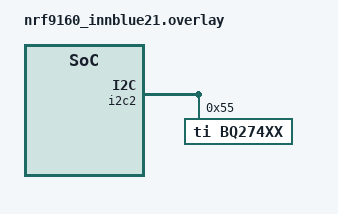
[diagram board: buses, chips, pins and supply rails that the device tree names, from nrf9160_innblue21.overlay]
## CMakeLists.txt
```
# SPDX-License-Identifier: Apache-2.0

cmake_minimum_required(VERSION 3.28.0)
find_package(Zephyr REQUIRED HINTS $ENV{ZEPHYR_BASE})
project(bq274xx)

FILE(GLOB app_sources src/*.c)
target_sources(app PRIVATE ${app_sources})
```

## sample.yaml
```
sample:
  description: Demonstration of the BQ274XX Fuel gauge Sensor driver
  name: BQ274XX Sample
tests:
  sample.sensor.bq274xx:
    harness: sensor
    platform_allow:
      - innblue22/nrf9160
    integration_platforms:
      - innblue22/nrf9160
    tags: sensors
    depends_on: i2c
  sample.sensor.bq274xx_without_int_gpios:
    harness: sensor
    platform_allow:
      - innblue22/nrf9160
    integration_platforms:
      - innblue22/nrf9160
    tags: sensors
    depends_on: i2c
    extra_configs:
      - CONFIG_BQ274XX_PM=n
```

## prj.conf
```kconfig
CONFIG_STDOUT_CONSOLE=y
CONFIG_I2C=y
CONFIG_SENSOR=y

CONFIG_LOG=y
```

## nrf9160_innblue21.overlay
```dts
/*
 * Copyright (c) 2020 Linumiz
 *
 * SPDX-License-Identifier: Apache-2.0
 */

&i2c2 {

	bq27421@55 {
		compatible = "ti,bq274xx";
		label = "BQ274XX";
		reg = <0x55>;
	};
};
```

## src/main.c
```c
/*
 * Copyright (c) 2020 Linumiz
 *
 * SPDX-License-Identifier: Apache-2.0
 */

#include <zephyr/kernel.h>
#include <zephyr/device.h>
#include <zephyr/drivers/sensor.h>
#include <zephyr/sys/printk.h>

static void bq274xx_show_values(const char *type, struct sensor_value value)
{
	if ((value.val2 < 0) && (value.val1 >= 0)) {
		value.val2 = -(value.val2);
		printk("%s: -%d.%06d\n", type, value.val1, value.val2);
	} else if ((value.val2 > 0) && (value.val1 < 0)) {
		printk("%s: %d.%06d\n", type, value.val1, value.val2);
	} else if ((value.val2 < 0) && (value.val1 < 0)) {
		value.val2 = -(value.val2);
		printk("%s: %d.%06d\n", type, value.val1, value.val2);
	} else {
		printk("%s: %d.%06d\n", type, value.val1, value.val2);
	}
}

static void do_main(const struct device *dev)
{
	int status = 0;
	struct sensor_value voltage, current, state_of_charge,
		full_charge_capacity, remaining_charge_capacity, avg_power,
		int_temp, current_standby, current_max_load, state_of_health;

	while (1) {
		status = sensor_sample_fetch_chan(dev,
						  SENSOR_CHAN_GAUGE_VOLTAGE);
		if (status < 0) {
			printk("Unable to fetch the voltage\n");
			return;
		}

		status = sensor_channel_get(dev, SENSOR_CHAN_GAUGE_VOLTAGE,
					    &voltage);
		if (status < 0) {
			printk("Unable to get the voltage value\n");
			return;
		}

		printk("Voltage: %d.%06dV\n", voltage.val1, voltage.val2);

		status = sensor_sample_fetch_chan(dev,
					       SENSOR_CHAN_GAUGE_AVG_CURRENT);
		if (status < 0) {
			printk("Unable to fetch the Average current\n");
			return;
		}

		status = sensor_channel_get(dev, SENSOR_CHAN_GAUGE_AVG_CURRENT,
					    &current);
		if (status < 0) {
			printk("Unable to get the current value\n");
			return;
		}

		bq274xx_show_values("Avg Current in Amps", current);

		status = sensor_sample_fetch_chan(dev,
					SENSOR_CHAN_GAUGE_STDBY_CURRENT);
		if (status < 0) {
			printk("Unable to fetch Standby Current\n");
			return;
		}

		status = sensor_channel_get(dev,
					SENSOR_CHAN_GAUGE_STDBY_CURRENT,
					&current_standby);
		if (status < 0) {
			printk("Unable to get the current value\n");
			return;
		}

		bq274xx_show_values("Standby Current in Amps", current_standby);

		status = sensor_sample_fetch_chan(dev,
					SENSOR_CHAN_GAUGE_MAX_LOAD_CURRENT);
		if (status < 0) {
			printk("Unable to fetch Max Load Current\n");
			return;
		}

		status = sensor_channel_get(dev,
					SENSOR_CHAN_GAUGE_MAX_LOAD_CURRENT,
					&current_max_load);
		if (status < 0) {
			printk("Unable to get the current value\n");
			return;
		}

		bq274xx_show_values("Max Load Current in Amps",
				    current_max_load);

		status = sensor_sample_fetch_chan(dev,
					SENSOR_CHAN_GAUGE_STATE_OF_CHARGE);
		if (status < 0) {
			printk("Unable to fetch State of Charge\n");
			return;
		}

		status = sensor_channel_get(dev,
					    SENSOR_CHAN_GAUGE_STATE_OF_CHARGE,
					    &state_of_charge);
		if (status < 0) {
			printk("Unable to get state of charge\n");
			return;
		}

		printk("State of charge: %d%%\n", state_of_charge.val1);

		status = sensor_sample_fetch_chan(dev,
					SENSOR_CHAN_GAUGE_STATE_OF_HEALTH);
		if (status < 0) {
			printk("Failed to fetch State of Health\n");
			return;
		}

		status = sensor_channel_get(dev,
					    SENSOR_CHAN_GAUGE_STATE_OF_HEALTH,
					    &state_of_health);
		if (status < 0) {
			printk("Unable to get state of charge\n");
			return;
		}

		printk("State of health: %d%%\n", state_of_health.val1);

		status = sensor_sample_fetch_chan(dev,
					SENSOR_CHAN_GAUGE_AVG_POWER);
		if (status < 0) {
			printk("Unable to fetch Avg Power\n");
			return;
		}

		status = sensor_channel_get(dev, SENSOR_CHAN_GAUGE_AVG_POWER,
					    &avg_power);
		if (status < 0) {
			printk("Unable to get avg power\n");
			return;
		}

		bq274xx_show_values("Avg Power in Watt", avg_power);

		status = sensor_sample_fetch_chan(dev,
				SENSOR_CHAN_GAUGE_FULL_CHARGE_CAPACITY);
		if (status < 0) {
			printk("Failed to fetch Full Charge Capacity\n");
			return;
		}

		status = sensor_channel_get(dev,
				SENSOR_CHAN_GAUGE_FULL_CHARGE_CAPACITY,
				&full_charge_capacity);
		if (status < 0) {
			printk("Unable to get full charge capacity\n");
			return;
		}

		printk("Full charge capacity: %d.%06dAh\n",
		       full_charge_capacity.val1, full_charge_capacity.val2);

		status = sensor_sample_fetch_chan(dev,
				SENSOR_CHAN_GAUGE_REMAINING_CHARGE_CAPACITY);
		if (status < 0) {
			printk("Unable to fetch Remaining Charge Capacity\n");
			return;
		}

		status = sensor_channel_get(dev,
				SENSOR_CHAN_GAUGE_REMAINING_CHARGE_CAPACITY,
				&remaining_charge_capacity);
		if (status < 0) {
			printk("Unable to get remaining charge capacity\n");
			return;
		}

		printk("Remaining charge capacity: %d.%06dAh\n",
		       remaining_charge_capacity.val1,
		       remaining_charge_capacity.val2);

		status = sensor_sample_fetch_chan(dev, SENSOR_CHAN_GAUGE_TEMP);
		if (status < 0) {
			printk("Failed to fetch Gauge Temp\n");
			return;
		}

		status = sensor_channel_get(dev, SENSOR_CHAN_GAUGE_TEMP,
					    &int_temp);
		if (status < 0) {
			printk("Unable to read internal temperature\n");
			return;
		}

		printk("Gauge Temperature: %d.%06d C\n", int_temp.val1,
		       int_temp.val2);

		k_sleep(K_MSEC(5000));
	}
}

int main(void)
{
	const struct device *const dev = DEVICE_DT_GET_ONE(ti_bq274xx);

	if (!device_is_ready(dev)) {
		printk("Device %s is not ready\n", dev->name);
		return 0;
	}

	printk("device is %p, name is %s\n", dev, dev->name);

	do_main(dev);
	return 0;
}
```
